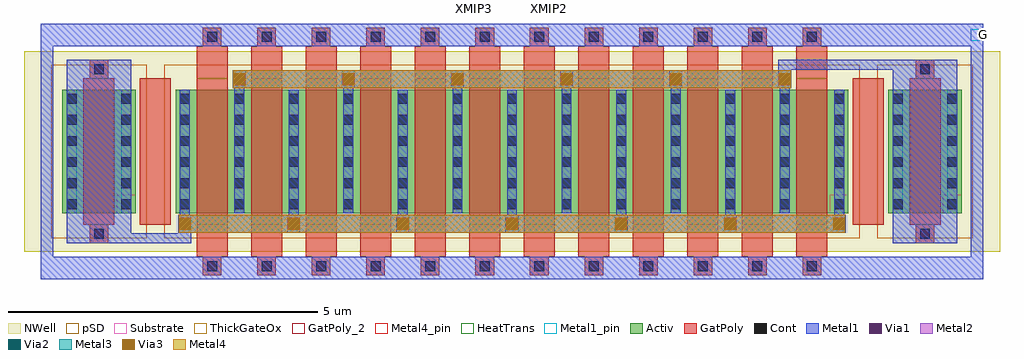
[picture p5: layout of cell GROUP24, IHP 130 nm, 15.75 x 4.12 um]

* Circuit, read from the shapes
.subckt GROUP24 G
XM1 pmosHV$3_priv1_0/D pmosHV$3_priv1_0/D pmosHV$3_priv1_0/D n1 sg13_hv_pmos w=2u l=0.5u
XM2 pmosHV$3_priv1_0/S G pmosHV$3_priv1_0/D n1 sg13_hv_pmos w=2u l=0.5u m=12
XM3 pmosHV$3_priv1_0/S pmosHV$3_priv1_0/S pmosHV$3_priv1_0/S n1 sg13_hv_pmos w=2u l=0.5u
.ends

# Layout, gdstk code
import gdstk
lib = gdstk.Library(unit=1e-6, precision=1e-09)
def R(c, l, rs):  # rectangles x0, y0, x1, y1
    for r in rs: c.add(gdstk.rectangle(r[:2], r[2:], *l))
def A(c, l, x, y, w, h, nx, ny, dx, dy):  # array of equal rectangles
    R(c, l, [(x+i*dx, y+j*dy, x+i*dx+w, y+j*dy+h) for i in range(nx) for j in range(ny)])
Activ = (1, 0)
GatPoly = (5, 0)
GatPoly_2 = (5, 2)
Cont = (6, 0)
Metal1 = (8, 0)
Metal1_pin = (8, 2)
Metal2 = (10, 0)
pSD = (14, 0)
Via1 = (19, 0)
Via2 = (29, 0)
Metal3 = (30, 0)
NWell = (31, 0)
Substrate = (40, 0)
ThickGateOx = (44, 0)
Via3 = (49, 0)
Metal4 = (50, 0)
Metal4_pin = (50, 2)
HeatTrans = (51, 0)

pmoshv_3_priv1 = lib.new_cell('pmosHV$3_priv1')
A(pmoshv_3_priv1, Activ, 0, 0, 0.3, 0.3, 13, 1, 0.88, 0)
R(pmoshv_3_priv1, Activ, [(0,0,10.86,2)])
A(pmoshv_3_priv1, GatPoly, 0.44, -1, 0.3, 0.3, 12, 2, 0.88, 3.7)
A(pmoshv_3_priv1, GatPoly, 0.34, -0.7, 0.5, 0.52, 12, 2, 0.88, 2.88)
A(pmoshv_3_priv1, GatPoly, 0.34, -0.18, 0.5, 2.36, 12, 1, 0.88, 0)
R(pmoshv_3_priv1, GatPoly_2, [(0.34,-0.18,0.84,2.18)])
A(pmoshv_3_priv1, Cont, 0.51, -0.93, 0.16, 0.16, 12, 2, 0.88, 3.7)
A(pmoshv_3_priv1, Cont, 0.07, 0.07, 0.16, 0.16, 13, 6, 0.88, 0.34)
A(pmoshv_3_priv1, Metal1, 0.455, -1.06, 0.27, 0.36, 12, 2, 0.88, 3.76)
A(pmoshv_3_priv1, Metal1, 0.045, -0.31, 0.21, 0.29, 7, 1, 1.76, 0)
A(pmoshv_3_priv1, Metal1, 0.07, -0.035, 0.16, 0.05, 7, 1, 1.76, 0)
A(pmoshv_3_priv1, Metal1, 0.07, 0, 0.16, 2, 13, 1, 0.88, 0)
A(pmoshv_3_priv1, Metal1, 0.95, 1.985, 0.16, 0.05, 6, 1, 1.76, 0)
A(pmoshv_3_priv1, Metal1, 0.925, 2.02, 0.21, 0.29, 6, 1, 1.76, 0)
R(pmoshv_3_priv1, Metal1_pin, [(0.07,0,0.23,2), (0.95,0,1.11,2)])
A(pmoshv_3_priv1, Metal2, 0.05, -0.31, 0.2, 0.29, 7, 1, 1.76, 0)
A(pmoshv_3_priv1, Metal2, 0.93, 2.02, 0.2, 0.29, 6, 1, 1.76, 0)
R(pmoshv_3_priv1, Metal2, [(0.05,-0.31,10.81,-0.02), (0.93,2.02,9.93,2.31)])
R(pmoshv_3_priv1, pSD, [(-0.18,-0.4,11.04,2.4)])
A(pmoshv_3_priv1, Via1, 0.055, -0.26, 0.19, 0.19, 7, 1, 1.76, 0)
A(pmoshv_3_priv1, Via1, 0.935, 2.07, 0.19, 0.19, 6, 1, 1.76, 0)
A(pmoshv_3_priv1, Via2, 0.055, -0.26, 0.19, 0.19, 7, 1, 1.76, 0)
A(pmoshv_3_priv1, Via2, 0.935, 2.07, 0.19, 0.19, 6, 1, 1.76, 0)
A(pmoshv_3_priv1, Metal3, 0.05, -0.31, 0.2, 0.29, 7, 1, 1.76, 0)
A(pmoshv_3_priv1, Metal3, 0.93, 2.02, 0.2, 0.29, 6, 1, 1.76, 0)
R(pmoshv_3_priv1, Metal3, [(0.05,-0.31,10.81,-0.02), (0.93,2.02,9.93,2.31)])
R(pmoshv_3_priv1, NWell, [(-0.62,-0.62,11.48,2.62)])
R(pmoshv_3_priv1, Substrate, [(10.56,0,10.86,0.3)])
R(pmoshv_3_priv1, ThickGateOx, [(-0.62,-0.62,11.48,2.62)])
A(pmoshv_3_priv1, Via3, 0.055, -0.26, 0.19, 0.19, 7, 1, 1.76, 0)
A(pmoshv_3_priv1, Via3, 0.935, 2.07, 0.19, 0.19, 6, 1, 1.76, 0)
A(pmoshv_3_priv1, Metal4, 0.05, -0.31, 0.2, 0.29, 7, 1, 1.76, 0)
A(pmoshv_3_priv1, Metal4, 0.93, 2.02, 0.2, 0.29, 6, 1, 1.76, 0)
R(pmoshv_3_priv1, Metal4, [(0.05,-0.31,10.81,-0.02), (0.93,2.02,9.93,2.31)])
R(pmoshv_3_priv1, Metal4_pin, [(10.615,-0.26,10.805,-0.07), (9.735,2.07,9.925,2.26)])
A(pmoshv_3_priv1, HeatTrans, 0.34, -0.18, 0.5, 2.36, 12, 1, 0.88, 0)
pmoshv_3_priv1.add(gdstk.Label('pmosHV', (0.59,1), layer=63, texttype=0))
pmoshv_3_priv1.add(gdstk.Label('pmos', (0.59,1), layer=51, texttype=0))
pmoshv_3_priv1.add(gdstk.Label('pmos', (1.47,1), layer=51, texttype=0))
pmoshv_3_priv1.add(gdstk.Label('pmos', (2.35,1), layer=51, texttype=0))
pmoshv_3_priv1.add(gdstk.Label('pmos', (3.23,1), layer=51, texttype=0))
pmoshv_3_priv1.add(gdstk.Label('pmos', (4.11,1), layer=51, texttype=0))
pmoshv_3_priv1.add(gdstk.Label('pmos', (4.99,1), layer=51, texttype=0))
pmoshv_3_priv1.add(gdstk.Label('pmos', (5.87,1), layer=51, texttype=0))
pmoshv_3_priv1.add(gdstk.Label('pmos', (6.75,1), layer=51, texttype=0))
pmoshv_3_priv1.add(gdstk.Label('pmos', (7.63,1), layer=51, texttype=0))
pmoshv_3_priv1.add(gdstk.Label('pmos', (8.51,1), layer=51, texttype=0))
pmoshv_3_priv1.add(gdstk.Label('pmos', (9.39,1), layer=51, texttype=0))
pmoshv_3_priv1.add(gdstk.Label('pmos', (10.27,1), layer=51, texttype=0))
pmoshv_3_priv1.add(gdstk.Label('S', (9.83,2.165), layer=50, texttype=0))
pmoshv_3_priv1.add(gdstk.Label('D', (10.71,-0.165), layer=50, texttype=0))

pmoshv_1_priv7 = lib.new_cell('pmosHV$1_priv7')
R(pmoshv_1_priv7, Activ, [(0,0,0.3,0.3), (0,0,1.18,2), (0.88,0,1.18,0.3)])
R(pmoshv_1_priv7, GatPoly, [(0.44,-0.48,0.74,-0.18), (0.34,-0.18,0.84,2.18), (0.44,2.18,0.74,2.48)])
R(pmoshv_1_priv7, GatPoly_2, [(0.34,-0.18,0.84,2.18)])
A(pmoshv_1_priv7, Cont, 0.07, 0.07, 0.16, 0.16, 1, 6, 0, 0.34)
A(pmoshv_1_priv7, Cont, 0.95, 0.07, 0.16, 0.16, 1, 6, 0, 0.34)
R(pmoshv_1_priv7, Cont, [(0.51,-0.41,0.67,-0.25), (0.51,2.25,0.67,2.41)])
R(pmoshv_1_priv7, Metal1, [(0.07,-0.48,1.11,2.48), (0.07,0,0.23,2), (0.95,0,1.11,2)])
R(pmoshv_1_priv7, Metal1_pin, [(0.07,0,0.23,2), (0.95,0,1.11,2)])
R(pmoshv_1_priv7, pSD, [(-0.18,-0.4,1.36,2.4)])
R(pmoshv_1_priv7, NWell, [(-0.62,-0.62,1.8,2.62)])
R(pmoshv_1_priv7, Substrate, [(0.88,0,1.18,0.3)])
R(pmoshv_1_priv7, ThickGateOx, [(-0.62,-0.62,1.8,2.62)])
R(pmoshv_1_priv7, HeatTrans, [(0.34,-0.18,0.84,2.18)])
pmoshv_1_priv7.add(gdstk.Label('pmosHV', (0.59,1), layer=63, texttype=0))
pmoshv_1_priv7.add(gdstk.Label('pmos', (0.59,1), layer=51, texttype=0))

pmoshv_1_priv8 = lib.new_cell('pmosHV$1_priv8')
R(pmoshv_1_priv8, Activ, [(0,0,0.3,0.3), (0,0,1.18,2), (0.88,0,1.18,0.3)])
R(pmoshv_1_priv8, GatPoly, [(0.44,-0.48,0.74,-0.18), (0.34,-0.18,0.84,2.18), (0.44,2.18,0.74,2.48)])
R(pmoshv_1_priv8, GatPoly_2, [(0.34,-0.18,0.84,2.18)])
A(pmoshv_1_priv8, Cont, 0.07, 0.07, 0.16, 0.16, 1, 6, 0, 0.34)
A(pmoshv_1_priv8, Cont, 0.95, 0.07, 0.16, 0.16, 1, 6, 0, 0.34)
R(pmoshv_1_priv8, Cont, [(0.51,-0.41,0.67,-0.25), (0.51,2.25,0.67,2.41)])
R(pmoshv_1_priv8, Metal1, [(0.07,-0.48,1.11,2.48), (0.07,0,0.23,2), (0.95,0,1.11,2)])
R(pmoshv_1_priv8, Metal1_pin, [(0.07,0,0.23,2), (0.95,0,1.11,2)])
R(pmoshv_1_priv8, pSD, [(-0.18,-0.4,1.36,2.4)])
R(pmoshv_1_priv8, NWell, [(-0.62,-0.62,1.8,2.62)])
R(pmoshv_1_priv8, Substrate, [(0.88,0,1.18,0.3)])
R(pmoshv_1_priv8, ThickGateOx, [(-0.62,-0.62,1.8,2.62)])
R(pmoshv_1_priv8, HeatTrans, [(0.34,-0.18,0.84,2.18)])
pmoshv_1_priv8.add(gdstk.Label('pmosHV', (0.59,1), layer=63, texttype=0))
pmoshv_1_priv8.add(gdstk.Label('pmos', (0.59,1), layer=51, texttype=0))

group24 = lib.new_cell('GROUP24')
R(group24, GatPoly, [(250.405,111.03,250.905,113.39), (261.91,111.03,262.41,113.39)])
R(group24, Metal1, [(248.805,110.15,264.015,110.51), (248.805,110.15,249.005,114.27), (263.815,110.15,264.015,114.27), (250.265,110.73,251.235,110.89), (251.025,110.89,251.235,111.19), (260.705,113.23,260.915,113.53), (260.705,113.53,262.555,113.69), (248.805,113.91,264.015,114.27)])
R(group24, Metal1_pin, [(263.815,113.995,264.015,114.185)])
group24.add(gdstk.Reference(pmoshv_3_priv1, (250.98,111.21)))
group24.add(gdstk.Reference(pmoshv_1_priv7, (262.485,111.21)))
group24.add(gdstk.Reference(pmoshv_1_priv8, (249.155,111.21)))
group24.add(gdstk.Label('G', (264.015,114.09), layer=8, texttype=0))
group24.add(gdstk.Label('XMIP3', (255.81,114.57), layer=1000, texttype=0))
group24.add(gdstk.Label('XMIP1', (256.41,114.57), layer=1000, texttype=0))
group24.add(gdstk.Label('XMIP2', (257.01,114.57), layer=1000, texttype=0))

lib.write_gds('GROUP24.gds')
